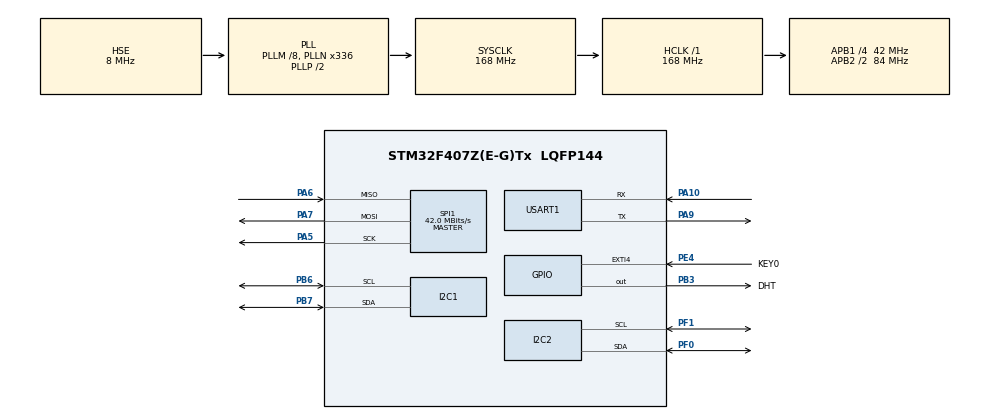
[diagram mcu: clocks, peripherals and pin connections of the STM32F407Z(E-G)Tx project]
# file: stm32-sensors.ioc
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Mcu.Family=STM32F4
Mcu.Name=STM32F407Z(E-G)Tx
Mcu.Package=LQFP144
NVIC.EXTI4_IRQn=true\:0\:1\:true\:false\:true\:true\:true
NVIC.I2C1_ER_IRQn=true\:0\:0\:false\:false\:true\:true\:true
NVIC.I2C1_EV_IRQn=true\:0\:0\:false\:false\:true\:true\:true
NVIC.I2C2_ER_IRQn=true\:0\:0\:false\:false\:true\:true\:true
NVIC.I2C2_EV_IRQn=true\:0\:0\:false\:false\:true\:true\:true
NVIC.PriorityGroup=NVIC_PRIORITYGROUP_2
NVIC.SPI1_IRQn=true\:0\:0\:false\:false\:true\:true\:true
NVIC.USART1_IRQn=true\:0\:0\:false\:false\:true\:true\:true
PA10.Mode=Asynchronous
PA10.Signal=USART1_RX
PA5.Mode=Full_Duplex_Master
PA5.Signal=SPI1_SCK
PA6.Mode=Full_Duplex_Master
PA6.Signal=SPI1_MISO
PA7.Mode=Full_Duplex_Master
PA7.Signal=SPI1_MOSI
PA9.Mode=Asynchronous
PA9.Signal=USART1_TX
PB3.GPIO_Label=DHT
PB3.GPIO_ModeDefaultOutputPP=GPIO_MODE_OUTPUT_OD
PB3.GPIO_PuPd=GPIO_PULLUP
PB3.GPIO_Speed=GPIO_SPEED_FREQ_VERY_HIGH
PB3.PinState=GPIO_PIN_SET
PB3.Signal=GPIO_Output
PB6.Mode=I2C
PB6.Signal=I2C1_SCL
PB7.Mode=I2C
PB7.Signal=I2C1_SDA
PC14-OSC32_IN.Mode=LSE-External-Oscillator
PC14-OSC32_IN.Signal=RCC_OSC32_IN
PC15-OSC32_OUT.Mode=LSE-External-Oscillator
PC15-OSC32_OUT.Signal=RCC_OSC32_OUT
PE4.GPIO_Label=KEY0
PE4.GPIO_ModeDefaultEXTI=GPIO_MODE_IT_FALLING
PE4.GPIO_PuPd=GPIO_PULLUP
PE4.Signal=GPXTI4
PF0.Mode=I2C
PF0.Signal=I2C2_SDA
PF1.Mode=I2C
PF1.Signal=I2C2_SCL
PH0-OSC_IN.Mode=HSE-External-Oscillator
PH0-OSC_IN.Signal=RCC_OSC_IN
PH1-OSC_OUT.Mode=HSE-External-Oscillator
PH1-OSC_OUT.Signal=RCC_OSC_OUT
ProjectManager.HeapSize=0x200
ProjectManager.StackSize=0x400
ProjectManager.TargetToolchain=MDK-ARM V5.27
RCC.48MHZClocksFreq_Value=84000000
RCC.AHBFreq_Value=168000000
RCC.APB1CLKDivider=RCC_HCLK_DIV4
RCC.APB1Freq_Value=42000000
RCC.APB1TimFreq_Value=84000000
RCC.APB2CLKDivider=RCC_HCLK_DIV2
RCC.APB2Freq_Value=84000000
RCC.APB2TimFreq_Value=168000000
RCC.CortexFreq_Value=168000000
RCC.EnbaleCSS=true
RCC.HCLKFreq_Value=168000000
RCC.HSE_VALUE=8000000
RCC.HSI_VALUE=16000000
RCC.PLLM=8
RCC.PLLN=336
RCC.PLLSourceVirtual=RCC_PLLSOURCE_HSE
RCC.SYSCLKFreq_VALUE=168000000
RCC.SYSCLKSource=RCC_SYSCLKSOURCE_PLLCLK
RCC.VCOOutputFreq_Value=336000000
SPI1.CalculateBaudRate=42.0 MBits/s
SPI1.Direction=SPI_DIRECTION_2LINES
SPI1.Mode=SPI_MODE_MASTER
SPI1.VirtualType=VM_MASTER
TIM5.Period=0xffffffff
TIM5.Prescaler=84-1
USART1.VirtualMode=VM_ASYNC
VP_TIM5_VS_ClockSourceINT.Mode=Internal
board=custom

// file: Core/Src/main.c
/* USER CODE BEGIN Header */
/**
  ******************************************************************************
  * @file           : main.c
  * @brief          : Main program body
  ******************************************************************************
  * @attention
  *
  * <h2><center>&copy; Copyright (c) 2021 STMicroelectronics.
  * All rights reserved.</center></h2>
  *
  * This software component is licensed by ST under BSD 3-Clause license,
  * the "License"; You may not use this file except in compliance with the
  * License. You may obtain a copy of the License at:
  *                        opensource.org/licenses/BSD-3-Clause
  *
  ******************************************************************************
  */
/* USER CODE END Header */
#include "main.h"
#include "tim.h"
#include "gpio.h"
#include "i2c.h"
#include "spi.h"
#include "usart.h"

/* USER CODE BEGIN Includes */
#include <math.h>
#include "delay.h"
#include "am2302.h"
#include "hmc5883.h"
#include "mpu9250.h"

#include "MahonyAHRS.h"
// #include "MadgwickAHRS.h"
/* USER CODE END Includes */

/* USER CODE BEGIN PV */
bool reset = false;
/* USER CODE END PV */

void SystemClock_Config(void);
/* USER CODE BEGIN PFP */
void AHRSComputeAngles(float *pitch, float *roll, float *yaw);
/* USER CODE END PFP */

int main(void)
{
  /* USER CODE BEGIN 1 */
  int tempCount = 0;
  /* USER CODE END 1 */

  /* MCU Configuration--------------------------------------------------------*/

  /* Reset of all peripherals, Initializes the Flash interface and the Systick. */
  HAL_Init();

  /* Configure the system clock */
  SystemClock_Config();

  /* Initialize all configured peripherals */
  MX_GPIO_Init();
  MX_TIM5_Init();
  MX_I2C1_Init();
  MX_I2C2_Init();
  MX_SPI1_Init();
  MX_USART1_UART_Init();
  /* USER CODE BEGIN 2 */
  delay_ms(500);
  am2302_init();
  hmc5883_init();
  mpu_init_user();
  printf("System initialization finished\r\n");
  delay_ms(2000);
  hmc5883_calibrate();
  /* USER CODE END 2 */

  /* Infinite loop */
  /* USER CODE BEGIN WHILE */
  while (true)
  {
    // 获取温度数据
    if (++tempCount > 10)
    {
      tempCount = 0;
      float temp, humi;
      am2302_get_data(&temp, &humi);
      // printf("temperature: %.1fC humidity: %.1f%%\r\n", temp, humi);
      printf("T%.1f\r\nH%.1f\r\n", temp, humi);
    }
    // 获取磁力计数据
    short x, y, z;
    hmc5883_get_data(&x, &y, &z, NULL);
    // printf("comp: %d %d %d, angle: %f\r\n", x, y, z, 0.0f);
    printf("M%d %d %d\r\n", x, y, z);
    // 获取加速度计和陀螺仪数据
    float accel[3], gyro[3];
    mpu_get_data(accel, gyro);
    // printf("accel: %.2f %.2f %.2f\r\n", accel[0], accel[1], accel[2]);
    printf("C%.2f %.2f %.2f\r\n", accel[0], accel[1], accel[2]);
    // printf("gyro: %.2f %.2f %.2f\r\n", gyro[0], gyro[1], gyro[2]);
    printf("G%.2f %.2f %.2f\r\n", gyro[0], gyro[1], gyro[2]);

    // 计算欧拉角
    float pitch, roll, yaw;
    // 调用MPL库
    // inv_time_t timestamp;
    // get_tick_count(&timestamp);
    // mpl_build_external_compress(x, y, z, timestamp);
    // mpl_get_data(&pitch, &roll, &yaw);
    // 使用DMP
    // dmp_get_data(&pitch, &roll, &yaw);
    // 复位
    if (reset)
    {
      reset = false;
      MahonyAHRSReset();
      printf("Reset angles\r\n");
    }
    // 使用Mahony算法(互补滤波算法explicit complement filter)
    MahonyAHRSupdate(gyro[0], gyro[1], gyro[2], accel[0], accel[1], accel[2], y, -x, z);
    // 使用Madgwick算法(梯度下降算法gradient descent)
    // MadgwickAHRSupdate(gyro[0], gyro[1], gyro[2], accel[0], accel[1], accel[2], y, -x, z);
    AHRSComputeAngles(&pitch, &roll, &yaw);
    // printf("pitch: %.2f roll: %.2f yaw: %.2f\r\n", pitch, roll, yaw);
    printf("A%d %d %d\r\n", (int) pitch, (int) roll, (int) yaw);
    // 延时
    delay_ms(200);
    /* USER CODE END WHILE */

  }
}

void SystemClock_Config(void)
{
  RCC_OscInitTypeDef RCC_OscInitStruct = {0};
  RCC_ClkInitTypeDef RCC_ClkInitStruct = {0};

  /** Configure the main internal regulator output voltage
  */
  __HAL_RCC_PWR_CLK_ENABLE();
  __HAL_PWR_VOLTAGESCALING_CONFIG(PWR_REGULATOR_VOLTAGE_SCALE1);
  /** Initializes the RCC Oscillators according to the specified parameters
  * in the RCC_OscInitTypeDef structure.
  */
  RCC_OscInitStruct.OscillatorType = RCC_OSCILLATORTYPE_HSE;
  RCC_OscInitStruct.HSEState = RCC_HSE_ON;
  RCC_OscInitStruct.PLL.PLLState = RCC_PLL_ON;
  RCC_OscInitStruct.PLL.PLLSource = RCC_PLLSOURCE_HSE;
  RCC_OscInitStruct.PLL.PLLM = 8;
  RCC_OscInitStruct.PLL.PLLN = 336;
  RCC_OscInitStruct.PLL.PLLP = RCC_PLLP_DIV2;
  RCC_OscInitStruct.PLL.PLLQ = 4;
  if (HAL_RCC_OscConfig(&RCC_OscInitStruct) != HAL_OK)
  {
    Error_Handler();
  }
  /** Initializes the CPU, AHB and APB buses clocks
  */
  RCC_ClkInitStruct.ClockType = RCC_CLOCKTYPE_HCLK|RCC_CLOCKTYPE_SYSCLK
                              |RCC_CLOCKTYPE_PCLK1|RCC_CLOCKTYPE_PCLK2;
  RCC_ClkInitStruct.SYSCLKSource = RCC_SYSCLKSOURCE_PLLCLK;
  RCC_ClkInitStruct.AHBCLKDivider = RCC_SYSCLK_DIV1;
  RCC_ClkInitStruct.APB1CLKDivider = RCC_HCLK_DIV4;
  RCC_ClkInitStruct.APB2CLKDivider = RCC_HCLK_DIV2;

  if (HAL_RCC_ClockConfig(&RCC_ClkInitStruct, FLASH_LATENCY_5) != HAL_OK)
  {
    Error_Handler();
  }
  /** Enables the Clock Security System
  */
  HAL_RCC_EnableCSS();
}

/* USER CODE BEGIN 4 */
void AHRSComputeAngles(float *pitch, float *roll, float *yaw)
{
    *pitch = asinf(-2.0f * (q1 * q3 - q0 * q2)) * 57.29578f;
    *roll = atan2f(q0 * q1 + q2 * q3, 0.5f - q1 * q1 - q2 * q2) * 57.29578f;
    *yaw = atan2f(q1 * q2 + q0 * q3, 0.5f - q2 * q2 - q3 * q3) * 57.29578f;
}

void key0_pressed(void)
{
    reset = true;
}

void uart_received(const char *data, uint16_t size)
{
    uart_println(data);
}

/* USER CODE END 4 */

void Error_Handler(void)
{
  __disable_irq();
  while (1)
  {
  }
}

/************************ (C) COPYRIGHT STMicroelectronics *****END OF FILE****/
